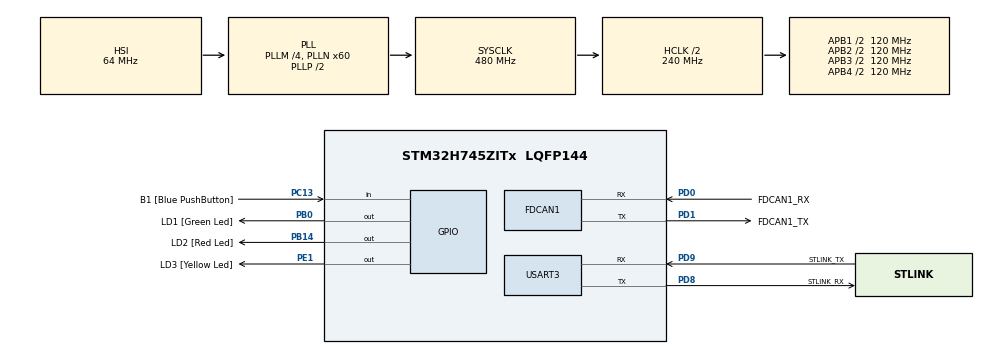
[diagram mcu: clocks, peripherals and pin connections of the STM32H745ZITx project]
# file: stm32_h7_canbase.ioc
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CortexM4.IPs=BDMA,CORTEX_M4\:I,DEBUG,DMA,FATFS_M4\:I,FREERTOS_M4\:I,GPIO,IWDG2\:I,MDMA,NVIC2\:I,OPENAMP_M4\:I,PDM2PCM_M4\:I,PWR,RCC,RESMGR_UTILITY,SYS_M4\:I,USB_DEVICE_M4\:I,USB_HOST_M4\:I,VREFBUF,WWDG2\:I,USART3
CortexM4.Pins=PE1
CortexM7.IPs=BDMA\:I,CORTEX_M7\:I,DEBUG\:I,DMA\:I,FATFS_M7\:I,FREERTOS_M7\:I,GPIO\:I,IWDG1\:I,MDMA\:I,NVIC1\:I,OPENAMP_M7\:I,PDM2PCM_M7\:I,PWR\:I,RCC\:I,RESMGR_UTILITY\:I,SYS\:I,USB_DEVICE_M7\:I,USB_HOST_M7\:I,VREFBUF\:I,WWDG1\:I,USART3\:I,FDCAN1\:I
CortexM7.Pins=PC13,PB0,PB14
FDCAN1.CalculateBaudRateNominal=500000
FDCAN1.CalculateTimeBitNominal=2000
FDCAN1.CalculateTimeQuantumNominal=50.0
FDCAN1.Mode=FDCAN_MODE_NORMAL
FDCAN1.NominalPrescaler=2
FDCAN1.NominalSyncJumpWidth=8
FDCAN1.NominalTimeSeg1=0x1F
FDCAN1.NominalTimeSeg2=8
FDCAN1.ProtocolException=ENABLE
FDCAN1.RxFifo0ElmtsNbr=1
FDCAN1.StdFiltersNbr=1
FDCAN1.TxFifoQueueElmtsNbr=1
Mcu.Family=STM32H7
Mcu.Name=STM32H745ZITx
Mcu.Package=LQFP144
NVIC1.PriorityGroup=NVIC_PRIORITYGROUP_4
NVIC2.PriorityGroup=NVIC_PRIORITYGROUP_4
PA13\ (JTMS/SWDIO).Mode=Serial_Wire
PA13\ (JTMS/SWDIO).PinAttribute=CortexM7
PA13\ (JTMS/SWDIO).Signal=DEBUG_JTMS-SWDIO
PA14\ (JTCK/SWCLK).Mode=Serial_Wire
PA14\ (JTCK/SWCLK).PinAttribute=CortexM7
PA14\ (JTCK/SWCLK).Signal=DEBUG_JTCK-SWCLK
PB0.GPIO_Label=LD1 [Green Led]
PB0.PinAttribute=CortexM7
PB0.Signal=GPIO_Output
PB14.GPIO_Label=LD2 [Red Led]
PB14.PinAttribute=CortexM7
PB14.Signal=GPIO_Output
PC13.GPIO_Label=B1 [Blue PushButton]
PC13.PinAttribute=CortexM7
PC13.Signal=GPIO_Input
PC14-OSC32_IN\ (OSC32_IN).Mode=LSE-External-Oscillator
PC14-OSC32_IN\ (OSC32_IN).PinAttribute=CortexM7
PC14-OSC32_IN\ (OSC32_IN).Signal=RCC_OSC32_IN
PC15-OSC32_OUT\ (OSC32_OUT).Mode=LSE-External-Oscillator
PC15-OSC32_OUT\ (OSC32_OUT).PinAttribute=CortexM7
PC15-OSC32_OUT\ (OSC32_OUT).Signal=RCC_OSC32_OUT
PD0.GPIO_Label=FDCAN1_RX
PD0.GPIO_Speed=GPIO_SPEED_FREQ_VERY_HIGH
PD0.Mode=FDCAN_Activate
PD0.PinAttribute=CortexM7
PD0.Signal=FDCAN1_RX
PD1.GPIO_Label=FDCAN1_TX
PD1.GPIO_PuPd=GPIO_PULLUP
PD1.GPIO_Speed=GPIO_SPEED_FREQ_VERY_HIGH
PD1.Mode=FDCAN_Activate
PD1.PinAttribute=CortexM7
PD1.Signal=FDCAN1_TX
PD8.GPIO_Label=STLINK_RX
PD8.Mode=Asynchronous
PD8.PinAttribute=CortexM7
PD8.Signal=USART3_TX
PD9.GPIO_Label=STLINK_TX
PD9.Mode=Asynchronous
PD9.PinAttribute=CortexM7
PD9.Signal=USART3_RX
PE1.GPIO_Label=LD3 [Yellow Led]
PE1.PinAttribute=CortexM4
PE1.Signal=GPIO_Output
PH0-OSC_IN\ (PH0).Mode=HSE-External-Clock-Source
PH0-OSC_IN\ (PH0).PinAttribute=CortexM7
PH0-OSC_IN\ (PH0).Signal=RCC_OSC_IN
ProjectManager.HeapSize=M4-0x200,M7-0x200
ProjectManager.StackSize=M4-0x400,M7-0x400
ProjectManager.TargetToolchain=STM32CubeIDE
RCC.ADCFreq_Value=72000000
RCC.APB1Freq_Value=120000000
RCC.APB2Freq_Value=120000000
RCC.APB3Freq_Value=120000000
RCC.APB4Freq_Value=120000000
RCC.CortexFreq_Value=480000000
RCC.D1PPRE=RCC_APB3_DIV2
RCC.D2PPRE1=RCC_APB1_DIV2
RCC.D2PPRE2=RCC_APB2_DIV2
RCC.D3PPRE=RCC_APB4_DIV2
RCC.DIVM1=4
RCC.DIVM2=4
RCC.DIVN1=60
RCC.DIVN2=9
RCC.DIVQ1=24
RCC.HCLKFreq_Value=240000000
RCC.HPRE=RCC_HCLK_DIV2
RCC.HSE_VALUE=8000000
RCC.SYSCLKFreq_VALUE=480000000
RCC.SYSCLKSource=RCC_SYSCLKSOURCE_PLLCLK
RCC.USBFreq_Value=40000000
SYS.userName=SYS_M7
USART3.VirtualMode-Asynchronous=VM_ASYNC
VP_SYS_M4_VS_Systick.Mode=SysTick
board=custom

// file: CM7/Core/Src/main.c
/* USER CODE BEGIN Header */
/**
  ******************************************************************************
  * @file           : main.c
  * @brief          : Main program body
  ******************************************************************************
  * @attention
  *
  * Copyright (c) 2022 STMicroelectronics.
  * All rights reserved.
  *
  * This software is licensed under terms that can be found in the LICENSE file
  * in the root directory of this software component.
  * If no LICENSE file comes with this software, it is provided AS-IS.
  *
  ******************************************************************************
  */
/* USER CODE END Header */
#include "main.h"

/* USER CODE BEGIN Includes */
#include "myprintf.h"
/* USER CODE END Includes */

/* USER CODE BEGIN PD */

#ifndef HSEM_ID_0
#define HSEM_ID_0 (0U) /* HW semaphore 0*/
#endif
/* USER CODE END PD */

FDCAN_HandleTypeDef hfdcan1;

UART_HandleTypeDef huart3;

/* USER CODE BEGIN PV */

FDCAN_FilterTypeDef sFilterConfig;
FDCAN_TxHeaderTypeDef TxHeader;
FDCAN_RxHeaderTypeDef RxHeader;
uint8_t TxData[8] = {0x10, 0x34, 0x54, 0x76, 0x98, 0x00, 0x11, 0x22};
uint8_t RxData[8];

/* USER CODE END PV */

void SystemClock_Config(void);
static void MX_GPIO_Init(void);
static void MX_USART3_UART_Init(void);
static void MX_FDCAN1_Init(void);

int main(void)
{
/* USER CODE BEGIN Boot_Mode_Sequence_0 */
  int32_t timeout;
/* USER CODE END Boot_Mode_Sequence_0 */

/* USER CODE BEGIN Boot_Mode_Sequence_1 */
  /* Wait until CPU2 boots and enters in stop mode or timeout*/
  timeout = 0xFFFF;
  while((__HAL_RCC_GET_FLAG(RCC_FLAG_D2CKRDY) != RESET) && (timeout-- > 0));
  if ( timeout < 0 )
  {
  Error_Handler();
  }
/* USER CODE END Boot_Mode_Sequence_1 */
  /* MCU Configuration--------------------------------------------------------*/

  /* Reset of all peripherals, Initializes the Flash interface and the Systick. */
  HAL_Init();

  /* Configure the system clock */
  SystemClock_Config();
/* USER CODE BEGIN Boot_Mode_Sequence_2 */
/* When system initialization is finished, Cortex-M7 will release Cortex-M4 by means of
HSEM notification */
/*HW semaphore Clock enable*/
__HAL_RCC_HSEM_CLK_ENABLE();
/*Take HSEM */
HAL_HSEM_FastTake(HSEM_ID_0);
/*Release HSEM in order to notify the CPU2(CM4)*/
HAL_HSEM_Release(HSEM_ID_0,0);
/* wait until CPU2 wakes up from stop mode */
timeout = 0xFFFF;
while((__HAL_RCC_GET_FLAG(RCC_FLAG_D2CKRDY) == RESET) && (timeout-- > 0));
if ( timeout < 0 )
{
Error_Handler();
}
/* USER CODE END Boot_Mode_Sequence_2 */

  /* Initialize all configured peripherals */
  MX_GPIO_Init();
  MX_USART3_UART_Init();
  MX_FDCAN1_Init();
  	  printf("Hello World\n\r");
    while (1)
    {
    	while (HAL_FDCAN_GetRxMessage(&hfdcan1, FDCAN_RX_FIFO0, &RxHeader, RxData) != HAL_OK);
		HAL_Delay(10);
		printf("\n\rCAN ID: %lx", RxHeader.Identifier);
		HAL_GPIO_TogglePin(LD1_GPIO_Port,LD1_Pin);
		HAL_Delay(100); /*AAO-*/
    	HAL_GPIO_TogglePin(LD1_GPIO_Port,LD1_Pin);
    	HAL_Delay(100);

    /* USER CODE END WHILE */

  }
}

void SystemClock_Config(void)
{
  RCC_OscInitTypeDef RCC_OscInitStruct = {0};
  RCC_ClkInitTypeDef RCC_ClkInitStruct = {0};

  /** Supply configuration update enable
  */
  HAL_PWREx_ConfigSupply(PWR_DIRECT_SMPS_SUPPLY);

  /** Configure the main internal regulator output voltage
  */
  __HAL_PWR_VOLTAGESCALING_CONFIG(PWR_REGULATOR_VOLTAGE_SCALE0);

  while(!__HAL_PWR_GET_FLAG(PWR_FLAG_VOSRDY)) {}

  /** Initializes the RCC Oscillators according to the specified parameters
  * in the RCC_OscInitTypeDef structure.
  */
  RCC_OscInitStruct.OscillatorType = RCC_OSCILLATORTYPE_HSI;
  RCC_OscInitStruct.HSIState = RCC_HSI_DIV1;
  RCC_OscInitStruct.HSICalibrationValue = RCC_HSICALIBRATION_DEFAULT;
  RCC_OscInitStruct.PLL.PLLState = RCC_PLL_ON;
  RCC_OscInitStruct.PLL.PLLSource = RCC_PLLSOURCE_HSI;
  RCC_OscInitStruct.PLL.PLLM = 4;
  RCC_OscInitStruct.PLL.PLLN = 60;
  RCC_OscInitStruct.PLL.PLLP = 2;
  RCC_OscInitStruct.PLL.PLLQ = 24;
  RCC_OscInitStruct.PLL.PLLR = 2;
  RCC_OscInitStruct.PLL.PLLRGE = RCC_PLL1VCIRANGE_3;
  RCC_OscInitStruct.PLL.PLLVCOSEL = RCC_PLL1VCOWIDE;
  RCC_OscInitStruct.PLL.PLLFRACN = 0;
  if (HAL_RCC_OscConfig(&RCC_OscInitStruct) != HAL_OK)
  {
    Error_Handler();
  }

  /** Initializes the CPU, AHB and APB buses clocks
  */
  RCC_ClkInitStruct.ClockType = RCC_CLOCKTYPE_HCLK|RCC_CLOCKTYPE_SYSCLK
                              |RCC_CLOCKTYPE_PCLK1|RCC_CLOCKTYPE_PCLK2
                              |RCC_CLOCKTYPE_D3PCLK1|RCC_CLOCKTYPE_D1PCLK1;
  RCC_ClkInitStruct.SYSCLKSource = RCC_SYSCLKSOURCE_PLLCLK;
  RCC_ClkInitStruct.SYSCLKDivider = RCC_SYSCLK_DIV1;
  RCC_ClkInitStruct.AHBCLKDivider = RCC_HCLK_DIV2;
  RCC_ClkInitStruct.APB3CLKDivider = RCC_APB3_DIV2;
  RCC_ClkInitStruct.APB1CLKDivider = RCC_APB1_DIV2;
  RCC_ClkInitStruct.APB2CLKDivider = RCC_APB2_DIV2;
  RCC_ClkInitStruct.APB4CLKDivider = RCC_APB4_DIV2;

  if (HAL_RCC_ClockConfig(&RCC_ClkInitStruct, FLASH_LATENCY_4) != HAL_OK)
  {
    Error_Handler();
  }
}

static void MX_FDCAN1_Init(void)
{

  hfdcan1.Instance = FDCAN1;
  hfdcan1.Init.FrameFormat = FDCAN_FRAME_CLASSIC;
  hfdcan1.Init.Mode = FDCAN_MODE_NORMAL;
  hfdcan1.Init.AutoRetransmission = DISABLE;
  hfdcan1.Init.TransmitPause = DISABLE;
  hfdcan1.Init.ProtocolException = ENABLE;
  hfdcan1.Init.NominalPrescaler = 2;
  hfdcan1.Init.NominalSyncJumpWidth = 8;
  hfdcan1.Init.NominalTimeSeg1 = 0x1F;
  hfdcan1.Init.NominalTimeSeg2 = 8;
  hfdcan1.Init.DataPrescaler = 1;
  hfdcan1.Init.DataSyncJumpWidth = 1;
  hfdcan1.Init.DataTimeSeg1 = 1;
  hfdcan1.Init.DataTimeSeg2 = 1;
  hfdcan1.Init.MessageRAMOffset = 0;
  hfdcan1.Init.StdFiltersNbr = 1;
  hfdcan1.Init.ExtFiltersNbr = 0;
  hfdcan1.Init.RxFifo0ElmtsNbr = 1;
  hfdcan1.Init.RxFifo0ElmtSize = FDCAN_DATA_BYTES_8;
  hfdcan1.Init.RxFifo1ElmtsNbr = 0;
  hfdcan1.Init.RxFifo1ElmtSize = FDCAN_DATA_BYTES_8;
  hfdcan1.Init.RxBuffersNbr = 0;
  hfdcan1.Init.RxBufferSize = FDCAN_DATA_BYTES_8;
  hfdcan1.Init.TxEventsNbr = 0;
  hfdcan1.Init.TxBuffersNbr = 0;
  hfdcan1.Init.TxFifoQueueElmtsNbr = 1;
  hfdcan1.Init.TxFifoQueueMode = FDCAN_TX_FIFO_OPERATION;
  hfdcan1.Init.TxElmtSize = FDCAN_DATA_BYTES_8;
  if (HAL_FDCAN_Init(&hfdcan1) != HAL_OK)
  {
    Error_Handler();
  }
  /* USER CODE BEGIN FDCAN1_Init 2 */
  /*AAO+*/
    /* Configure Rx filter */
     sFilterConfig.IdType = FDCAN_STANDARD_ID;
     sFilterConfig.FilterIndex = 0;
     sFilterConfig.FilterType = FDCAN_FILTER_MASK;
     sFilterConfig.FilterConfig = FDCAN_FILTER_TO_RXFIFO0;
     sFilterConfig.FilterID1 = 0x321;
     sFilterConfig.FilterID2 = 0x7FF;

     /* Configure global filter to reject all non-matching frames */
     HAL_FDCAN_ConfigGlobalFilter(&hfdcan1, FDCAN_REJECT, FDCAN_REJECT, FDCAN_REJECT_REMOTE, FDCAN_REJECT_REMOTE);

     if (HAL_FDCAN_ConfigFilter(&hfdcan1, &sFilterConfig) != HAL_OK)
       {
          /* Filter configuration Error */
          Error_Handler();
       }
      /* Start the FDCAN module */
     if (HAL_FDCAN_Start(&hfdcan1) != HAL_OK) {
       }
          /* Start Error */
     if (HAL_FDCAN_ActivateNotification(&hfdcan1, FDCAN_IT_RX_FIFO0_NEW_MESSAGE, 0) != HAL_OK) {
       }
          /* Notification Error */

      /* Configure Tx buffer message */
     TxHeader.Identifier = (0b110 << 26);
     TxHeader.Identifier |= ((0xFF14) << 8);
     TxHeader.Identifier |= 0xA3;
     TxHeader.IdType = FDCAN_EXTENDED_ID;
     TxHeader.TxFrameType = FDCAN_DATA_FRAME;
     TxHeader.DataLength = FDCAN_DLC_BYTES_12;
     TxHeader.ErrorStateIndicator = FDCAN_ESI_ACTIVE;
     TxHeader.BitRateSwitch = FDCAN_BRS_ON;
     TxHeader.FDFormat = FDCAN_FD_CAN;
     TxHeader.TxEventFifoControl = FDCAN_NO_TX_EVENTS;
     TxHeader.MessageMarker = 0x00;
    /*AAO-*/

  /* USER CODE END FDCAN1_Init 2 */

}

static void MX_USART3_UART_Init(void)
{

  huart3.Instance = USART3;
  huart3.Init.BaudRate = 115200;
  huart3.Init.WordLength = UART_WORDLENGTH_8B;
  huart3.Init.StopBits = UART_STOPBITS_1;
  huart3.Init.Parity = UART_PARITY_NONE;
  huart3.Init.Mode = UART_MODE_TX_RX;
  huart3.Init.HwFlowCtl = UART_HWCONTROL_NONE;
  huart3.Init.OverSampling = UART_OVERSAMPLING_16;
  huart3.Init.OneBitSampling = UART_ONE_BIT_SAMPLE_DISABLE;
  huart3.Init.ClockPrescaler = UART_PRESCALER_DIV1;
  huart3.AdvancedInit.AdvFeatureInit = UART_ADVFEATURE_NO_INIT;
  if (HAL_UART_Init(&huart3) != HAL_OK)
  {
    Error_Handler();
  }
  if (HAL_UARTEx_SetTxFifoThreshold(&huart3, UART_TXFIFO_THRESHOLD_1_8) != HAL_OK)
  {
    Error_Handler();
  }
  if (HAL_UARTEx_SetRxFifoThreshold(&huart3, UART_RXFIFO_THRESHOLD_1_8) != HAL_OK)
  {
    Error_Handler();
  }
  if (HAL_UARTEx_DisableFifoMode(&huart3) != HAL_OK)
  {
    Error_Handler();
  }

}

static void MX_GPIO_Init(void)
{
  GPIO_InitTypeDef GPIO_InitStruct = {0};

  /* GPIO Ports Clock Enable */
  __HAL_RCC_GPIOC_CLK_ENABLE();
  __HAL_RCC_GPIOH_CLK_ENABLE();
  __HAL_RCC_GPIOB_CLK_ENABLE();
  __HAL_RCC_GPIOD_CLK_ENABLE();
  __HAL_RCC_GPIOA_CLK_ENABLE();

  /*Configure GPIO pin Output Level */
  HAL_GPIO_WritePin(GPIOB, LD1_Pin|LD2_Pin, GPIO_PIN_RESET);

  /*Configure GPIO pin : B1_Pin */
  GPIO_InitStruct.Pin = B1_Pin;
  GPIO_InitStruct.Mode = GPIO_MODE_INPUT;
  GPIO_InitStruct.Pull = GPIO_NOPULL;
  HAL_GPIO_Init(B1_GPIO_Port, &GPIO_InitStruct);

  /*Configure GPIO pins : LD1_Pin LD2_Pin */
  GPIO_InitStruct.Pin = LD1_Pin|LD2_Pin;
  GPIO_InitStruct.Mode = GPIO_MODE_OUTPUT_PP;
  GPIO_InitStruct.Pull = GPIO_NOPULL;
  GPIO_InitStruct.Speed = GPIO_SPEED_FREQ_LOW;
  HAL_GPIO_Init(GPIOB, &GPIO_InitStruct);

}

void Error_Handler(void)
{
  __disable_irq();
  while (1)
  {
  }
}
